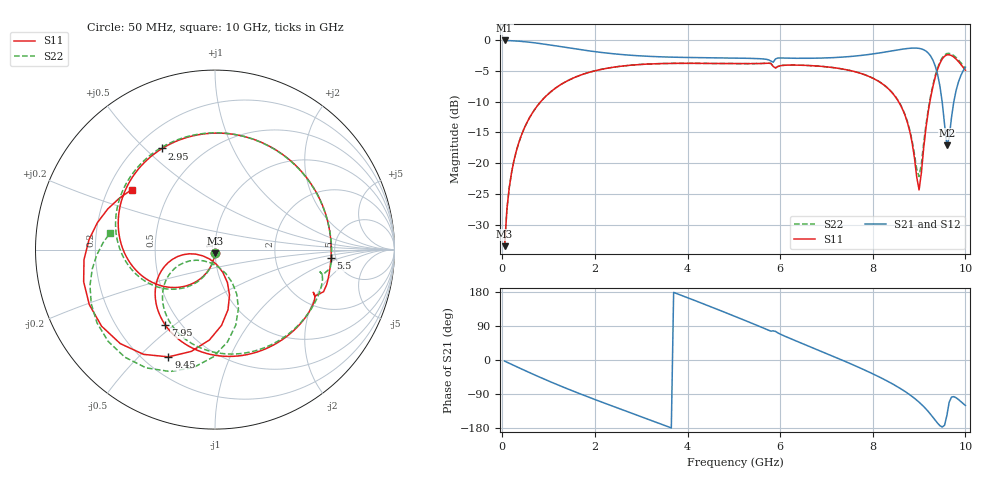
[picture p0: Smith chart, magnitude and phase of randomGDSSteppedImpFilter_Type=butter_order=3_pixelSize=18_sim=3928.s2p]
! freq	dB(S11)	phase(S11)	dB(S12)	phase(S12)
!  dB(S21)	phase(S21)	dB(S22)	phase(S22)
!S-par simulation data
#  GHz  S  DB  R 50
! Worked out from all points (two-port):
!   200 points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, 50 MHz to 10 GHz, reference 50 ohm
!   highest |S21| = -0.01 dB at 50 MHz (marker M1); lowest = -17.1 dB at 9.6 GHz (marker M2)
!   |S21| within 3 dB of the highest: start of sweep to 5.617 GHz; 5.903 GHz to 9.283 GHz (3.38 GHz wide, 44.5 % of centre)
!   lowest |S11| = -33.5 dB at 50 MHz (marker M3), VSWR 1.04, Z = 49.8 - j2.1 ohm
!   |S11| at or under -10 dB: start of sweep to 828.3 MHz; 8.559 GHz to 9.234 GHz (675.4 MHz wide, 7.59 % of centre)
!   |S22| runs from -33.5 to -2.1 dB; largest |S21 - S12| = 0
!   S11 on the Smith chart (normalised r, x): 50 MHz: 1.00, -0.04; 2.95 GHz: 0.30, +0.57; 5.5 GHz: 4.56, -0.73; 7.95 GHz: 0.41, -0.46; 9.45 GHz: 0.30, -0.61; 10 GHz: 0.30, +0.30
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0.05  -33.51 -93.1  -0.01 -2.9  -0.01 -2.9  -33.52 -92.9
0.1  -27.50 -96.1  -0.02 -5.8  -0.02 -5.8  -27.51 -95.8
0.2  -21.54 -102.2  -0.05 -11.5  -0.05 -11.5  -21.54 -101.7
0.5  -13.89 -119.7  -0.22 -28.4  -0.22 -28.4  -13.89 -118.3
1.1  -8.05 -152.8  -0.82 -60.6  -0.82 -60.6  -8.04 -149.6
1.75  -5.49 174.3  -1.57 -92.6  -1.57 -92.6  -5.49 179.3
2.95  -3.93 117.6  -2.51 -147.4  -2.51 -147.4  -3.93 126.5
3.4  -3.78 96.6  -2.67 -167.8  -2.67 -167.8  -3.78 106.8
4.2  -3.73 58.7  -2.80 155.0  -2.80 155.0  -3.73 70.8
5.05  -3.78 17.8  -2.88 113.8  -2.88 113.8  -3.78 30.5
5.5  -3.77 -4.1  -2.96 91.4  -2.96 91.4  -3.77 8.2
6.7  -4.12 -60.7  -2.90 32.3  -2.90 32.3  -4.12 -50.8
7.35  -4.66 -92.3  -2.71 -0.9  -2.71 -0.9  -4.66 -83.6
7.95  -5.97 -123.5  -2.26 -33.6  -2.26 -33.6  -5.96 -114.8
8.35  -7.98 -146.4  -1.79 -58.0  -1.79 -58.0  -7.94 -136.9
8.75  -13.41 -169.4  -1.31 -87.5  -1.31 -87.5  -13.27 -156.7
9  -24.36 -118.5  -1.30 -111.3  -1.30 -111.3  -22.18 -106.7
9.25  -9.30 -77.8  -2.55 -143.5  -2.55 -143.5  -9.01 -68.4
9.45  -3.72 -113.5  -7.45 -173.4  -7.45 -173.4  -3.50 -100.3
9.6  -2.36 -146.0  -17.06 -146.5  -17.06 -146.5  -2.14 -130.0
9.75  -2.71 -175.6  -9.98 -96.7  -9.98 -96.7  -2.47 -156.3
10  -4.85 144.3  -4.36 -120.0  -4.36 -120.0  -4.57 170.8
